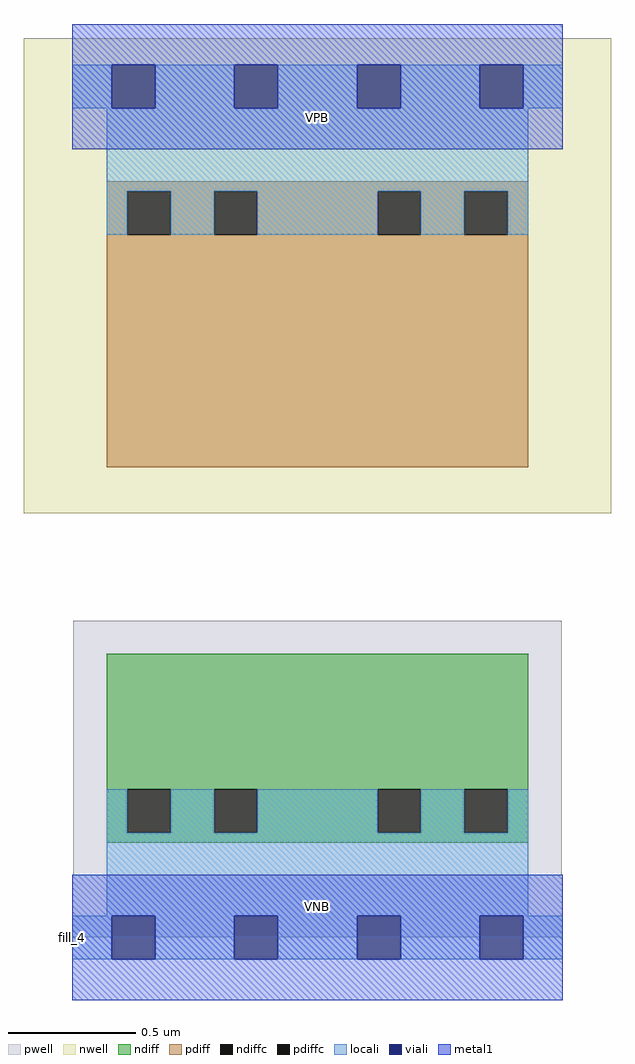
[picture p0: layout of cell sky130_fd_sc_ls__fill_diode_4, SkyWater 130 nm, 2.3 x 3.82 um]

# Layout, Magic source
magic
tech sky130A
magscale 1 2
<< nwell >>
rect -38 332 422 704
<< pwell >>
rect 1 49 383 248
rect 0 0 384 49
<< ndiff >>
rect 27 116 357 222
rect 27 82 43 116
rect 77 82 111 116
rect 145 82 239 116
rect 273 82 307 116
rect 341 82 357 116
rect 27 74 357 82
<< pdiff >>
rect 27 584 357 592
rect 27 550 43 584
rect 77 550 111 584
rect 145 550 239 584
rect 273 550 307 584
rect 341 550 357 584
rect 27 368 357 550
<< ndiffc >>
rect 43 82 77 116
rect 111 82 145 116
rect 239 82 273 116
rect 307 82 341 116
<< pdiffc >>
rect 43 550 77 584
rect 111 550 145 584
rect 239 550 273 584
rect 307 550 341 584
<< locali >>
rect 0 649 31 683
rect 65 649 127 683
rect 161 649 223 683
rect 257 649 319 683
rect 353 649 384 683
rect 27 584 357 649
rect 27 550 43 584
rect 77 550 111 584
rect 145 550 239 584
rect 273 550 307 584
rect 341 550 357 584
rect 27 82 43 116
rect 77 82 111 116
rect 145 82 239 116
rect 273 82 307 116
rect 341 82 357 116
rect 27 17 357 82
rect 0 -17 31 17
rect 65 -17 127 17
rect 161 -17 223 17
rect 257 -17 319 17
rect 353 -17 384 17
<< viali >>
rect 31 649 65 683
rect 127 649 161 683
rect 223 649 257 683
rect 319 649 353 683
rect 31 -17 65 17
rect 127 -17 161 17
rect 223 -17 257 17
rect 319 -17 353 17
<< metal1 >>
rect 0 683 384 715
rect 0 649 31 683
rect 65 649 127 683
rect 161 649 223 683
rect 257 649 319 683
rect 353 649 384 683
rect 0 617 384 649
rect 0 17 384 49
rect 0 -17 31 17
rect 65 -17 127 17
rect 161 -17 223 17
rect 257 -17 319 17
rect 353 -17 384 17
rect 0 -49 384 -17
<< labels >>
flabel pwell s 0 0 384 49 0 FreeSans 200 0 0 0 VNB
port 2 nsew ground bidirectional
flabel nwell s 0 617 384 666 0 FreeSans 200 0 0 0 VPB
port 3 nsew power bidirectional
rlabel comment s 0 0 0 0 4 fill_4
flabel metal1 s 0 617 384 666 0 FreeSans 200 0 0 0 VPWR
port 4 nsew power bidirectional abutment
flabel metal1 s 0 0 384 49 0 FreeSans 200 0 0 0 VGND
port 1 nsew ground bidirectional abutment
<< properties >>
string LEFsite unit
string LEFclass CORE SPACER
string FIXED_BBOX 0 0 384 666
string GDS_FILE $PDKPATH/libs.ref/sky130_fd_sc_ls/gds/sky130_fd_sc_ls.gds
string LEFsymmetry X Y
string GDS_END 585652
string GDS_START 583208
<< end >>
